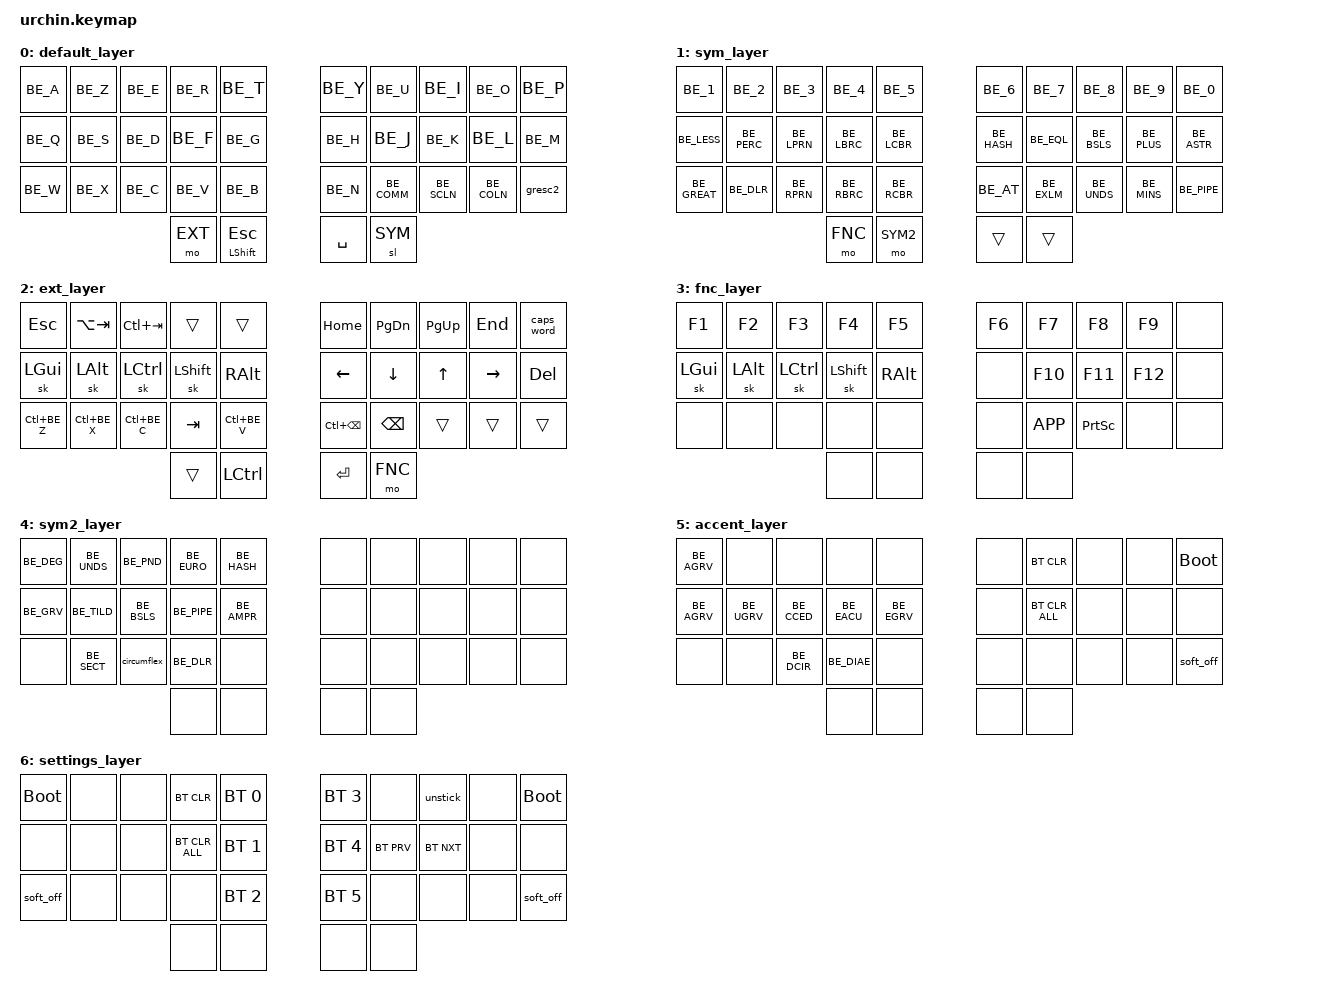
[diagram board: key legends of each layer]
/*
 * Copyright (c) 2020 The ZMK Contributors
 *
 * SPDX-License-Identifier: MIT
 */

#include <behaviors.dtsi>
#include <dt-bindings/zmk/keys.h>
#include <dt-bindings/zmk/bt.h>
#include "keymap_belgian.h"

// Layer definitions
    #define BASE 0
    #define SYM 1
    #define EXT 2
    #define FNC 3
    #define SYM2 4
    #define ACCENT 5
    #define SETTINGS 6
// -----------------

&mt {
   //  flavor = "tap-preferred";
   // tapping_term_ms = <200>;
};

&sk {
    ignore-modifiers;
};

&caps_word {
    continue-list = <BE_UNDS BE_MINS BE_M>;
};

/ {
      macros {
            // sometimes my device thinks a modifier is being held down
            // pressing all modifiers fixes it.
            unstick: unstick {
               label = "ZM_unstick";
               compatible = "zmk,behavior-macro";
               #binding-cells = <0>;
               bindings
                  = <&kp LSHIFT &kp RSHIFT &kp LCTRL &kp RCTRL &kp LALT &kp RALT &kp LGUI &kp RGUI>;
            };

            // Send circumflex ^ directly (tap dead key twice)
            circumflex: circumflex {
                   compatible = "zmk,behavior-macro";
                   #binding-cells = <0>;
                   bindings
                       = <&kp BE_DCIR>, <&kp BE_DCIR>;
            };
      };

      behaviors {
        gresc2: quote_doublequote {
            compatible = "zmk,behavior-mod-morph";
            #binding-cells = <0>;
            bindings = <&kp BE_QUOT>, <&kp BE_DQUO>;
            mods = <(MOD_LSFT)>;
        };
      };

      combos {
        compatible = "zmk,combos";

        // both right thumb keys
        combo_accent {
            timeout-ms = <300>;
            key-positions = <32 33>;
            bindings = <&mo ACCENT>;
        };

        // internal-left & external-right thumb keys
        combo_sym2 {
              timeout-ms = <200>;
              key-positions = <31 33>;
              bindings = <&mo SYM2>;
        };

        // both left thumb keys
        combo_settings {
          timeout-ms = <300>;
          key-positions = <30 31>;
          bindings = <&mo SETTINGS>;
        };

        Show_Sym {
          timeout-ms = <100>;
          bindings = <&kp RA(RC(N1))>;
          key-positions = <15>;
          layers = <SYM2>;
          slow-release;
        };

        Show_ext {
          timeout-ms = <100>;
          bindings = <&kp RA(RC(N2))>;
          key-positions = <16>;
          layers = <SYM2>;
          slow-release;
        };

        Show_fnc {
          timeout-ms = <100>;
          bindings = <&kp RA(RC(N3))>;
          key-positions = <17>;
          layers = <SYM2>;
          slow-release;
        };

        Show_sym2 {
          timeout-ms = <100>;
          bindings = <&kp RA(RC(N4))>;
          key-positions = <18>;
          layers = <SYM2>;
          slow-release;
        };

        Show_accent {
          timeout-ms = <100>;
          bindings = <&kp RA(RC(N5))>;
          key-positions = <19>;
          layers = <SYM2>;
          slow-release;
        };
      };

    keymap {
      compatible = "zmk,keymap";

      // Base alpha layer
      default_layer {
        bindings = <
          &kp BE_A &kp BE_Z &kp BE_E &kp BE_R &kp BE_T        &kp BE_Y &kp BE_U &kp BE_I &kp BE_O &kp BE_P
          &kp BE_Q &kp BE_S &kp BE_D &kp BE_F &kp BE_G        &kp BE_H &kp BE_J &kp BE_K &kp BE_L &kp BE_M
          &kp BE_W &kp BE_X &kp BE_C &kp BE_V &kp BE_B        &kp BE_N &kp BE_COMM  &kp BE_SCLN &kp BE_COLN &gresc2
                        &mo EXT &mt LSHIFT ESC                       &kp SPACE &sl SYM
          >;
      };

        // Numbers and high frequency symbols
      sym_layer {
        bindings = <
          &kp BE_1 &kp BE_2 &kp BE_3 &kp BE_4 &kp BE_5                   &kp BE_6 &kp BE_7 &kp BE_8 &kp BE_9 &kp BE_0
          &kp BE_LESS &kp BE_PERC &kp BE_LPRN &kp BE_LBRC &kp BE_LCBR    &kp BE_HASH &kp BE_EQL &kp BE_BSLS &kp BE_PLUS &kp BE_ASTR
          &kp BE_GREAT &kp BE_DLR &kp BE_RPRN &kp BE_RBRC &kp BE_RCBR    &kp BE_AT &kp BE_EXLM &kp BE_UNDS &kp BE_MINS &kp BE_PIPE
                                                       &mo FNC  &mo SYM2       &trans &trans
      >;
      };

      // Main modifiers and arrow keys
      ext_layer {
        bindings = <
          &kp ESC  &kp LA(TAB) &kp LC(TAB)  &trans  &trans                &kp HOME &kp PG_DN &kp PG_UP &kp END &caps_word
          &sk LGUI &sk LALT &sk LCTRL &sk LSHIFT &kp RALT                 &kp LEFT &kp DOWN  &kp UP  &kp RIGHT &kp DEL
          &kp LC(BE_Z)  &kp LC(BE_X) &kp LC(BE_C) &kp TAB &kp LC(BE_V)    &kp LC(BSPC) &kp BSPC &trans &trans &trans
                                       &trans &kp LCTRL    &kp ENTER  &mo FNC
      >;
      };

      // Function keys with modifiers
      fnc_layer {
        bindings = <
          &kp F1 &kp F2 &kp F3 &kp F4 &kp F5                  &kp F6 &kp F7 &kp F8 &kp F9 &none
          &sk LGUI &sk LALT &sk LCTRL &sk LSHIFT &kp RALT     &none &kp F10 &kp F11 &kp F12 &none
          &none &none &none &none &none                       &none &kp K_APP &kp PRINTSCREEN &none &none
                                 &none &none              &none &none
      >;
      };

      // Low frequency symbols.
      sym2_layer {
        bindings = <
          &kp BE_DEG  &kp BE_UNDS &kp BE_PND  &kp BE_EURO &kp BE_HASH       &none &none &none &none &none
          &kp BE_GRV  &kp BE_TILD &kp BE_BSLS &kp BE_PIPE &kp BE_AMPR       &none &none &none &none &none
          &none       &kp BE_SECT &circumflex &kp BE_DLR  &none             &none &none &none &none &none
                                                &none &none                  &none &none
      >;
      };

      // Used to type regional accents.
      accent_layer {
        bindings = <
          &kp BE_AGRV &none &none &none &none                           &none &bt BT_CLR &none &none &bootloader
          &kp BE_AGRV &kp BE_UGRV &kp BE_CCED &kp BE_EACU &kp BE_EGRV   &none &bt BT_CLR_ALL &none &none &none
          &none &none &kp BE_DCIR &kp BE_DIAE &none                     &none &none &none &none &soft_off
                                        &none &none                         &none &none
      >;
      };

      // Used to change the keyboard's settings.
      settings_layer {
        bindings = <
          &bootloader &none &none &bt BT_CLR &bt BT_SEL 0    &bt BT_SEL 3 &none &unstick &none &bootloader
          &none &none &none &bt BT_CLR_ALL &bt BT_SEL 1      &bt BT_SEL 4 &bt BT_PRV &bt BT_NXT &none &none
          &soft_off &none &none &none &bt BT_SEL 2               &bt BT_SEL 5 &none &none &none &soft_off
                           &none &none                         &none &none
      >;
      };

   };
};
